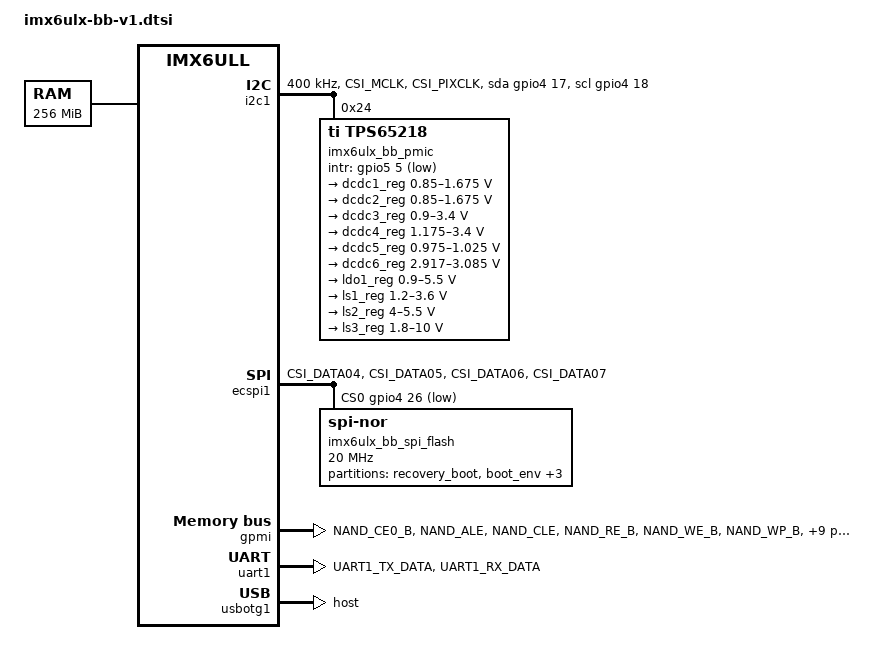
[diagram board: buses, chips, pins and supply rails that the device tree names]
// SPDX-License-Identifier: (GPL-2.0 OR MIT)
//
// Copyright (C) 2021 Prodrive Technologies

/dts-v1/;

#include <dt-bindings/input/input.h>
#include "../imx6ull.dtsi"

/ {
	chosen {
		stdout-path = &uart1;
	};

	/*
	 * When U-Boot environment variable 'ethaddr' is set, the MAC address from the i.MX eFuses gets overwritten.
	 * 'ethaddr' is a magic environment variable in U-Boot and related to the ethernet alias described in the device tree.
	 * By deleting the ethernet alias property, the MAC address cannot be spoofed by setting the 'ethaddr' variable.
	 * Allow setting MAC address values by U-Boot by adding the ethernet alias to the product device tree.
	 */
	aliases {
		/delete-property/ ethernet0;
		/delete-property/ ethernet1;
	};

	/* 256 MiB of DDR3 */
	memory@80000000 {
		device_type = "memory";
		reg = <0x80000000 0x10000000>;
	};

	/* TODO: Define DRAM */
	/*
	reserved-memory {
		#address-cells = <1>;
		#size-cells = <1>;
		ranges;

		linux,cma {
			compatible = "shared-dma-pool";
			reusable;
			size = <0x10000>;
			linux,cma-default;
		};
	};
	*/
};

&cpu0 {
	/*
	 * on i.MX6ULL, no seperated VDD_ARM_IN and VDD_SOC_IN,
	 * to align with other platform and use the same cpufreq
	 * driver, still use the seperated OPP define for arm
	 * and soc.
	 */
	operating-points = <
		/* kHz	uV */
		528000	1175000
		396000	1175000
		198000	1175000
	>;
	fsl,soc-operating-points = <
		/* KHz	uV */
		528000	1175000
		396000	1175000
		198000	1175000
	>;
	fsl,arm-soc-shared = <1>;
};


// TODO: Check if can be removed
&clks {
	assigned-clocks = <&clks IMX6UL_CLK_PLL3_PFD2>;
	assigned-clock-rates = <320000000>;
};

/*
	The following definitions list the parts and interfaces which are placed on the building block itself.
	These parts and interfaces are enabled by default, as they are always available and used.
*/

/* PMIC */
imx6ulx_bb_i2c1: &i2c1 {
	clock-frequency = <400000>;
	pinctrl-names = "default", "gpio";
	pinctrl-0 = <&pinctrl_i2c1>;
	pinctrl-1 = <&pinctrl_i2c1_gpio>;
	sda-gpios = <&gpio4 17 GPIO_ACTIVE_HIGH>;
	scl-gpios = <&gpio4 18 GPIO_ACTIVE_HIGH>;
	status = "okay";

	imx6ulx_bb_pmic: tps65218@24 {
		reg = <0x24>;
		compatible = "ti,tps65218";
		pinctrl-0 = <&pinctrl_pmic>; //Set to TAMPER5
		gpio_intr = <&gpio5 5 GPIO_ACTIVE_LOW>;

		regulators {
			#address-cells = <1>;
			#size-cells = <0>;

			dcdc1_reg: regulator@0 {
				reg = <0>;
				regulator-compatible = "dcdc1";
				regulator-min-microvolt = <850000>;
				regulator-max-microvolt = <1675000>;
				regulator-boot-on;
				regulator-always-on;
			};

			dcdc2_reg: regulator@1 {
				reg = <1>;
				regulator-compatible = "dcdc2";
				regulator-min-microvolt = <850000>;
				regulator-max-microvolt = <1675000>;
				regulator-boot-on;
				regulator-always-on;
			};

			dcdc3_reg: regulator@2 {
				reg = <2>;
				regulator-compatible = "dcdc3";
				regulator-min-microvolt = <900000>;
				regulator-max-microvolt = <3400000>;
				regulator-boot-on;
				regulator-always-on;
			};

			dcdc4_reg: regulator@3 {
				reg = <3>;
				regulator-compatible = "dcdc4";
				regulator-min-microvolt = <1175000>;
				regulator-max-microvolt = <3400000>;
				regulator-boot-on;
				regulator-always-on;
			};

			dcdc5_reg: regulator@4 {
				reg = <4>;
				regulator-compatible = "dcdc5";
				regulator-min-microvolt = <975000>;
				regulator-max-microvolt = <1025000>;
				regulator-boot-on;
				regulator-always-on;
			};

			dcdc6_reg: regulator@5 {
				reg = <5>;
				regulator-compatible = "dcdc6";
				regulator-min-microvolt = <2917000>;
				regulator-max-microvolt = <3085000>;
				regulator-boot-on;
				regulator-always-on;
			};

			ldo1_reg: regulator@6 {
				reg = <6>;
				regulator-compatible = "ldo1";
				regulator-min-microvolt = <900000>;
				regulator-max-microvolt = <5500000>;
				regulator-boot-on;
				regulator-always-on;
			};

			ls1_reg: regulator@7 {
				reg = <7>;
				regulator-compatible = "ls1";
				regulator-min-microvolt = <1200000>;
				regulator-max-microvolt = <3600000>;
				regulator-boot-on;
				regulator-always-on;
			};

			ls2_reg: regulator@8 {
				reg = <8>;
				regulator-compatible = "ls2";
				regulator-min-microvolt = <4000000>;
				regulator-max-microvolt = <5500000>;
				regulator-boot-on;
				regulator-always-on;
			};

			ls3_reg: regulator@9 {
				reg = <9>;
				regulator-compatible = "ls3";
				regulator-min-microvolt = <1800000>;
				regulator-max-microvolt = <10000000>;
				regulator-boot-on;
				regulator-always-on;
			};
		};
	};
};

/* Recovery flash */
imx6ulx_bb_ecspi1: &ecspi1 {
	pinctrl-names = "default";
	pinctrl-0 = <&pinctrl_ecspi1>;
	status = "okay";
	cs-gpios = <&gpio4 26 GPIO_ACTIVE_LOW>;

	/* Disable DMA to force PIO mode, since DMA is not available during boot */
	/delete-property/ dmas;
	/delete-property/ dma-names;

	imx6ulx_bb_spi_flash: flash@0 {
		#address-cells = <1>;
		#size-cells = <1>;
		reg = <0>;
		compatible = "jedec,spi-nor";
		spi-max-frequency = <20000000>;
		status = "okay";
		partition@0x00000000 {
			label = "recovery_boot";
			reg = <0x00000000 0x00100000>;
		};
		partition@0x00100000 {
			label = "boot_env";
			reg = <0x00100000 0x00020000>;
		};
		partition@0x00120000 {
			label = "factory_data";
			reg = <0x00120000 0x00020000>;
			read-only;
		};
		partition@0x00140000 {
			label = "customer_data";
			reg = <0x00140000 0x00040000>;
		};
		partition@0x00180000 {
			label = "recovery_firmware";
			reg = <0x00180000 0x00680000>;
		};
	};
};

/* Boot flash */
imx6ulx_bb_nand_flash: &gpmi {
	pinctrl-names = "default";
	pinctrl-0 = <&pinctrl_gpmi1>;
	status = "okay";
	nand-on-flash-bbt;

	partition@0x00000000 {
		label = "boot";
		reg = <0x00000000 0x00500000>;
	};
	partition@0x00500000 {
		label = "firmware";
		reg = <0x00500000 0x03C00000>;
	};
	partition@0x04100000 {
		label = "user_definable";
		reg = <0x04100000 0x03F00000>;
	};
};

&snvs_poweroff {
	status = "okay";
};

/* Debug UART */
imx6ulx_bb_uart_debug: &uart1 {
	pinctrl-names = "default";
	pinctrl-0 = <&pinctrl_uart1>;
	status = "okay";
};

/* USB mode is predefined as host, as most products will use it as host. Can be overridden in product definitions */
imx6ulx_bb_usbotg1: &usbotg1 {
	pinctrl-names = "default";
	dr_mode = "host";
	status = "okay";
};

imx6ulx_bb_iomuxc: &iomuxc {
	pinctrl-names = "default";

	pinctrl_ecspi1: ecspi1grp-1 {
		fsl,pins = <
			MX6UL_PAD_CSI_DATA04__ECSPI1_SCLK	0x10b0
			MX6UL_PAD_CSI_DATA05__GPIO4_IO26	0x10b0 /* CS# */
			MX6UL_PAD_CSI_DATA06__ECSPI1_MOSI	0x10b0
			MX6UL_PAD_CSI_DATA07__ECSPI1_MISO	0x10b0
		>;
	};

	/*
	 * Bit-30 corresponds with the I2C1 SION-bit in the Pad Mux Register (bit-4).
	 * This bit must be set to force the input path of I2C pads.
	 */
	pinctrl_i2c1: i2c1grp {
		fsl,pins = <
			MX6UL_PAD_CSI_MCLK__I2C1_SDA		0x400010b0
			MX6UL_PAD_CSI_PIXCLK__I2C1_SCL	0x400010b0
		>;
	};

	pinctrl_i2c1_gpio: i2c1gpiogrp {
		fsl,pins = <
			MX6UL_PAD_CSI_MCLK__GPIO4_IO17		0x10b0
			MX6UL_PAD_CSI_PIXCLK__GPIO4_IO18	0x10b0
		>;
	};

	pinctrl_pmic: pmicirq {
		fsl,pins = <
			MX6ULL_PAD_SNVS_TAMPER0__GPIO5_IO00		0x10b0
			MX6ULL_PAD_SNVS_TAMPER1__GPIO5_IO01		0x10b0
			MX6ULL_PAD_SNVS_TAMPER5__GPIO5_IO05		0x10b0
			MX6ULL_PAD_SNVS_TAMPER6__GPIO5_IO06		0x10b0
		>;
	};

	pinctrl_gpmi1: gpmi1 {
		fsl,pins = <
			MX6UL_PAD_NAND_CE0_B__RAWNAND_CE0_B			0x10b0
			MX6UL_PAD_NAND_ALE__RAWNAND_ALE					0x10b0
			MX6UL_PAD_NAND_CLE__RAWNAND_CLE					0x10b0
			MX6UL_PAD_NAND_RE_B__RAWNAND_RE_B				0x10b0
			MX6UL_PAD_NAND_WE_B__RAWNAND_WE_B				0x10b0
			MX6UL_PAD_NAND_WP_B__RAWNAND_WP_B				0x10b0
			MX6UL_PAD_NAND_READY_B__RAWNAND_READY_B	0x10b0
			MX6UL_PAD_NAND_DATA00__RAWNAND_DATA00		0x10b0
			MX6UL_PAD_NAND_DATA01__RAWNAND_DATA01		0x10b0
			MX6UL_PAD_NAND_DATA02__RAWNAND_DATA02		0x10b0
			MX6UL_PAD_NAND_DATA03__RAWNAND_DATA03		0x10b0
			MX6UL_PAD_NAND_DATA04__RAWNAND_DATA04		0x10b0
			MX6UL_PAD_NAND_DATA05__RAWNAND_DATA05		0x10b0
			MX6UL_PAD_NAND_DATA06__RAWNAND_DATA06		0x10b0
			MX6UL_PAD_NAND_DATA07__RAWNAND_DATA07		0x10b0
		>;
	};

	pinctrl_uart1: uart1grp {
		fsl,pins = <
			MX6UL_PAD_UART1_TX_DATA__UART1_DCE_TX	0x10b0
			MX6UL_PAD_UART1_RX_DATA__UART1_DCE_RX	0x10b0
		>;
	};
};
